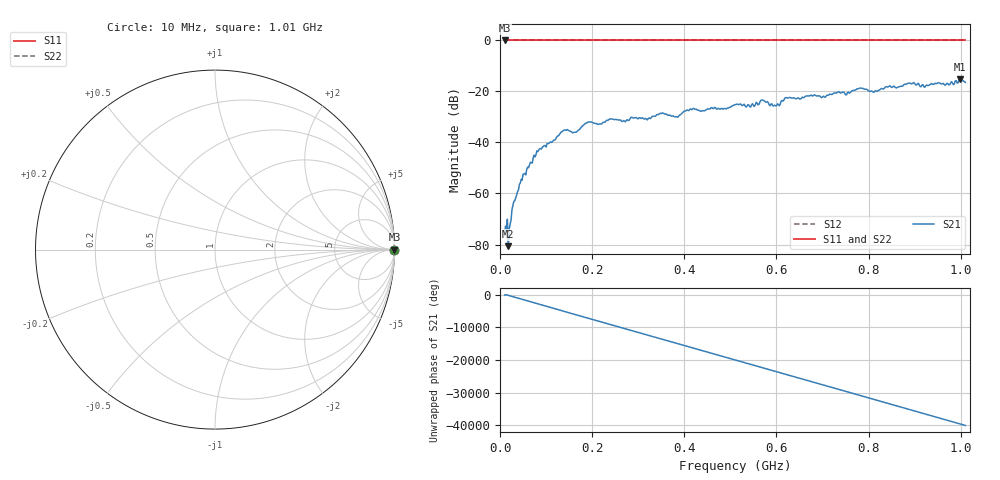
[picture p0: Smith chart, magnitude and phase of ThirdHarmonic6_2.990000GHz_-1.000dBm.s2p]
! 8/17/2025 8:31:14 AM
! C:\ANRITSUVNA\TEMP\TEMP.S2P
! CHANNEL.1
! TR.MEASUREMENT
! RAW.DATA
! RF.CORRECTION.OFF
! AVERAGING.OFF
! IF.BANDWIDTH: 5KHZ
! SWEEPTYPE:  FREQ.SWEEP(Linear)
! Reference Plane Port Info
! PORT:  PORT1  PORT2
! DISTANCE:  0  m  0  m
! TIME:  0  s  0  s
! PHASE.OFFSET:  0  deg.  0  deg.
! LOSS:  0  dB  0  dB
! REF.LOSS:  0  dB  0  dB
! REF.FREQ:  0  Hz  0  Hz
! Power Info
! POWER:  -20  dBm  -20  dBm
! EFF.POWER:  -20  dBm  -20  dBm
! SOURCE.ATTEN:  0  dB  0  dB
! TEST.ATTEN:  0  dB  0  dB
# GHZ S RI R 50.0
! FREQ.GHZ  S11RE  S11IM  S21RE  S21IM  S12RE  S12IM  S22RE  S22IM
!; PortSelection: Port_12
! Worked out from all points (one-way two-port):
!   501 points, 10 MHz to 1.01 GHz, reference 50 ohm
!   highest |S21| = -15.25 dB at 998 MHz (marker M1); lowest = -80.6 dB at 18 MHz (marker M2)
!   lowest |S11| = 0.0 dB at 10 MHz (marker M3)
!   |S11| at or under -10 dB: nowhere
!   |S22| runs from 0.0 to 0.0 dB; largest |S21 - S12| = 1.2
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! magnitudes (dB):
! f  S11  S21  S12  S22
! 10 MHz  0.0  -76.4  0.0  0.0
! 18 MHz  0.0  -80.6  0.0  0.0
! 22 MHz  0.0  -71.9  0.0  0.0
! 30 MHz  0.0  -63.1  0.0  0.0
! 46 MHz  0.0  -54.5  0.0  0.0
! 82 MHz  0.0  -43.6  0.0  0.0
! 136 MHz  0.0  -35.5  0.0  0.0
! 162 MHz  0.0  -36.0  0.0  0.0
! 178 MHz  0.0  -33.7  0.0  0.0
! 344 MHz  0.0  -29.1  0.0  0.0
! 382 MHz  0.0  -29.8  0.0  0.0
! 416 MHz  0.0  -27.2  0.0  0.0
! 510 MHz  0.0  -25.2  0.0  0.0
! 548 MHz  0.0  -24.8  0.0  0.0
! 570 MHz  0.0  -23.4  0.0  0.0
! 596 MHz  0.0  -25.4  0.0  0.0
! 622 MHz  0.0  -22.5  0.0  0.0
! 678 MHz  0.0  -21.8  0.0  0.0
! 814 MHz  0.0  -19.8  0.0  0.0
! 844 MHz  0.0  -18.0  0.0  0.0
! 998 MHz  0.0  -15.2  0.0  0.0
! 1.01 GHz  0.0  -16.4  0.0  0.0
